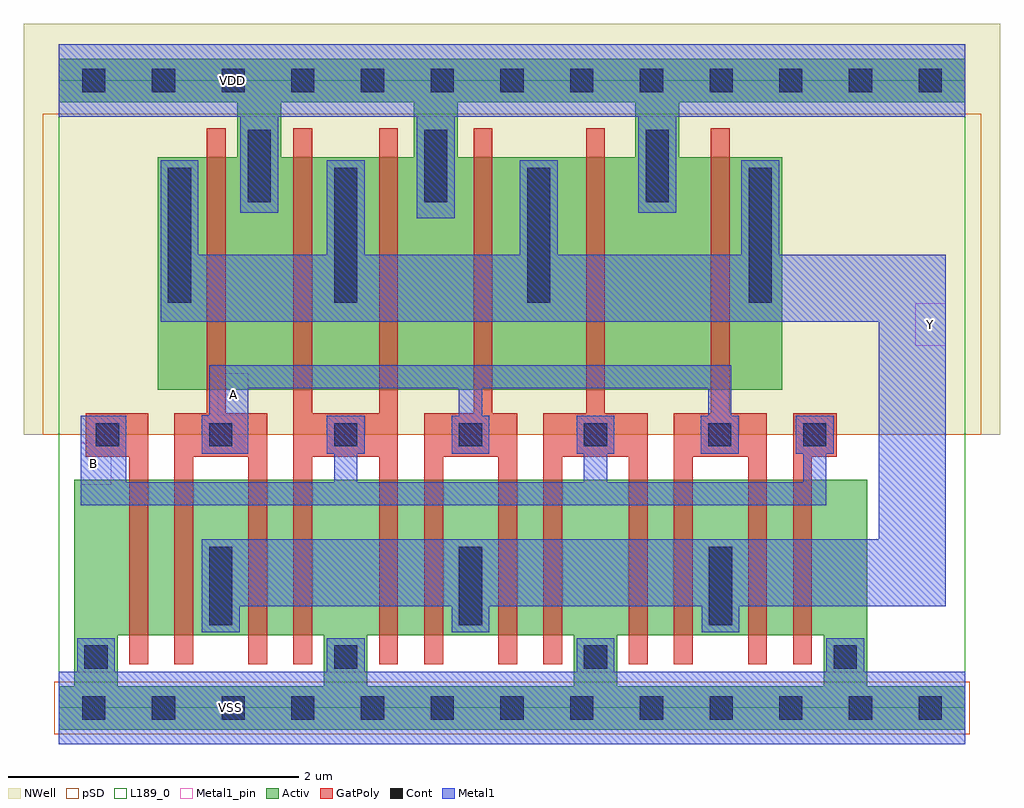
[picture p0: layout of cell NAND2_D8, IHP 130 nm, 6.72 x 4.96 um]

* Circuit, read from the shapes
.subckt NAND2_D8 A B VDD VSS Y
XM1 n1 B VSS VSS sg13_lv_nmos w=1.07u l=0.13u
XM2 Y A n1 VSS sg13_lv_nmos w=1.07u l=0.13u
XM3 n2 A Y VSS sg13_lv_nmos w=1.07u l=0.13u
XM4 VSS B n2 VSS sg13_lv_nmos w=1.07u l=0.13u
XM5 n3 B VSS VSS sg13_lv_nmos w=1.07u l=0.13u
XM6 Y A n3 VSS sg13_lv_nmos w=1.07u l=0.13u
XM7 n4 A Y VSS sg13_lv_nmos w=1.07u l=0.13u
XM8 VSS B n4 VSS sg13_lv_nmos w=1.07u l=0.13u
XM9 n5 B VSS VSS sg13_lv_nmos w=1.07u l=0.13u
XM10 Y A n5 VSS sg13_lv_nmos w=1.07u l=0.13u
XM11 n6 A Y VSS sg13_lv_nmos w=1.07u l=0.13u
XM12 VSS B n6 VSS sg13_lv_nmos w=1.07u l=0.13u
XM13 VDD A Y VDD sg13_lv_pmos w=1.6u l=0.13u m=3
XM14 Y B VDD VDD sg13_lv_pmos w=1.6u l=0.13u m=3
.ends

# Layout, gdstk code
import gdstk
lib = gdstk.Library(unit=1e-6, precision=1e-09)
def R(c, l, rs):  # rectangles x0, y0, x1, y1
    for r in rs: c.add(gdstk.rectangle(r[:2], r[2:], *l))
def A(c, l, x, y, w, h, nx, ny, dx, dy):  # array of equal rectangles
    R(c, l, [(x+i*dx, y+j*dy, x+i*dx+w, y+j*dy+h) for i in range(nx) for j in range(ny)])
def P(c, l, *ps):  # polygons
    for p in ps: c.add(gdstk.Polygon(p, *l))
Activ = (1, 0)
GatPoly = (5, 0)
Cont = (6, 0)
Metal1 = (8, 0)
Metal1_pin = (8, 2)
pSD = (14, 0)
NWell = (31, 0)
L189_0 = (189, 0)

nand2_d8 = lib.new_cell('NAND2_D8')
P(nand2_d8, Activ, [(0,-0.15),(0,0.15),(0.105,0.15),(0.105,0.5),(0.405,0.5),(0.405,0.15),(1.825,0.15),(1.825,0.5),(2.125,0.5),(2.125,0.15),(3.545,0.15),(3.545,0.5),(3.845,0.5),(3.845,0.15),(5.265,0.15),(5.265,0.5),(0.105,0.5),(0.105,1.57),(5.565,1.57),(5.565,0.15),(6.24,0.15),(6.24,-0.15)],
  [(0.68,2.19),(0.68,3.79),(1.23,3.79),(1.23,4.17),(1.53,4.17),(1.53,3.79),(2.445,3.79),(2.445,4.17),(2.745,4.17),(2.745,3.79),(3.97,3.79),(3.97,4.17),(0,4.17),(0,4.47),(6.24,4.47),(6.24,4.17),(4.27,4.17),(4.27,3.79),(4.98,3.79),(4.98,2.19)])
P(nand2_d8, GatPoly, [(0.485,0.3),(0.485,1.73),(0.185,1.73),(0.185,2.03),(0.615,2.03),(0.615,0.3)],
  [(5.055,0.3),(5.055,2.03),(5.355,2.03),(5.355,1.73),(5.185,1.73),(5.185,0.3)],
  [(0.795,0.3),(0.795,2.03),(1.02,2.03),(1.02,3.99),(1.15,3.99),(1.15,2.03),(1.435,2.03),(1.435,0.3),(1.305,0.3),(1.305,1.73),(0.925,1.73),(0.925,0.3)],
  [(1.615,0.3),(1.615,3.99),(1.745,3.99),(1.745,2.03),(2.205,2.03),(2.205,3.99),(2.335,3.99),(2.335,0.3),(2.205,0.3),(2.205,1.73),(1.745,1.73),(1.745,0.3)],
  [(2.515,0.3),(2.515,2.03),(2.855,2.03),(2.855,3.99),(2.985,3.99),(2.985,2.03),(3.155,2.03),(3.155,0.3),(3.025,0.3),(3.025,1.73),(2.645,1.73),(2.645,0.3)],
  [(3.335,0.3),(3.335,2.03),(3.63,2.03),(3.63,3.99),(3.76,3.99),(3.76,2.03),(4.055,2.03),(4.055,0.3),(3.925,0.3),(3.925,1.73),(3.465,1.73),(3.465,0.3)],
  [(4.235,0.3),(4.235,2.03),(4.49,2.03),(4.49,3.99),(4.62,3.99),(4.62,2.03),(4.875,2.03),(4.875,0.3),(4.745,0.3),(4.745,1.73),(4.365,1.73),(4.365,0.3)])
A(nand2_d8, Cont, 0.16, -0.08, 0.16, 0.16, 13, 2, 0.48, 4.32)
A(nand2_d8, Cont, 0.175, 0.27, 0.16, 0.16, 4, 1, 1.72, 0)
A(nand2_d8, Cont, 1.035, 0.57, 0.16, 0.54, 3, 1, 1.72, 0)
A(nand2_d8, Cont, 1.035, 1.8, 0.16, 0.16, 4, 1, 0.86, 0)
R(nand2_d8, Cont, [(0.255,1.8,0.415,1.96), (4.47,1.8,4.63,1.96), (5.125,1.8,5.285,1.96), (0.75,2.79,0.91,3.72), (1.895,2.79,2.055,3.72), (3.225,2.79,3.385,3.72), (4.75,2.79,4.91,3.72), (1.3,3.48,1.46,3.98), (2.515,3.48,2.675,3.98), (4.04,3.48,4.2,3.98)])
P(nand2_d8, Metal1, [(0,-0.25),(0,0.25),(0.125,0.25),(0.125,0.48),(0.385,0.48),(0.385,0.25),(1.845,0.25),(1.845,0.48),(2.105,0.48),(2.105,0.25),(3.565,0.25),(3.565,0.48),(3.825,0.48),(3.825,0.25),(5.285,0.25),(5.285,0.48),(5.545,0.48),(5.545,0.25),(6.24,0.25),(6.24,-0.25)],
  [(0.15,1.395),(0.15,2.01),(0.465,2.01),(0.465,1.555),(1.895,1.555),(1.895,1.75),(1.845,1.75),(1.845,2.01),(2.105,2.01),(2.105,1.75),(2.055,1.75),(2.055,1.555),(3.615,1.555),(3.615,1.75),(3.565,1.75),(3.565,2.01),(3.825,2.01),(3.825,1.75),(3.775,1.75),(3.775,1.555),(5.125,1.555),(5.125,1.75),(5.075,1.75),(5.075,2.01),(5.335,2.01),(5.335,1.75),(5.285,1.75),(5.285,1.395)],
  [(0.985,1.75),(0.985,2.015),(1.035,2.015),(1.035,2.36),(4.63,2.36),(4.63,2.01),(4.68,2.01),(4.68,1.75),(4.42,1.75),(4.42,2.01),(4.47,2.01),(4.47,2.2),(2.915,2.2),(2.915,2.01),(2.965,2.01),(2.965,1.75),(2.705,1.75),(2.705,2.01),(2.755,2.01),(2.755,2.2),(1.305,2.2),(1.305,1.75)],
  [(0.985,0.52),(0.985,1.16),(5.645,1.16),(5.645,2.66),(0.7,2.66),(0.7,3.77),(0.96,3.77),(0.96,3.12),(1.845,3.12),(1.845,3.77),(2.105,3.77),(2.105,3.12),(3.175,3.12),(3.175,3.77),(3.435,3.77),(3.435,3.12),(4.7,3.12),(4.7,3.77),(4.96,3.77),(4.96,3.12),(6.105,3.12),(6.105,0.7),(4.685,0.7),(4.685,0.52),(4.425,0.52),(4.425,0.7),(2.965,0.7),(2.965,0.52),(2.705,0.52),(2.705,0.7),(1.245,0.7),(1.245,0.52)],
  [(2.465,3.37),(2.465,4.07),(1.51,4.07),(1.51,3.41),(1.25,3.41),(1.25,4.07),(0,4.07),(0,4.57),(6.24,4.57),(6.24,4.07),(4.25,4.07),(4.25,3.41),(3.99,3.41),(3.99,4.07),(2.725,4.07),(2.725,3.37)])
R(nand2_d8, Metal1_pin, [(0,-0.25,6.24,0.25), (0.15,1.535,0.36,1.825), (1.095,2.015,1.305,2.305), (5.895,2.495,6.105,2.785), (0,4.07,6.24,4.57)])
R(nand2_d8, pSD, [(-0.03,-0.18,6.27,0.18), (-0.11,1.88,6.35,4.09)])
R(nand2_d8, NWell, [(-0.24,1.88,6.48,4.71)])
R(nand2_d8, L189_0, [(0,0,6.24,4.32)])
nand2_d8.add(gdstk.Label('B', (0.24,1.68), layer=8, texttype=25))
nand2_d8.add(gdstk.Label('A', (1.2,2.16), layer=8, texttype=25))
nand2_d8.add(gdstk.Label('VDD', (1.195,4.32), layer=8, texttype=25))
nand2_d8.add(gdstk.Label('Y', (6,2.64), layer=8, texttype=25))
nand2_d8.add(gdstk.Label('VSS', (1.185,0), layer=8, texttype=25))

lib.write_gds('NAND2_D8.gds')
